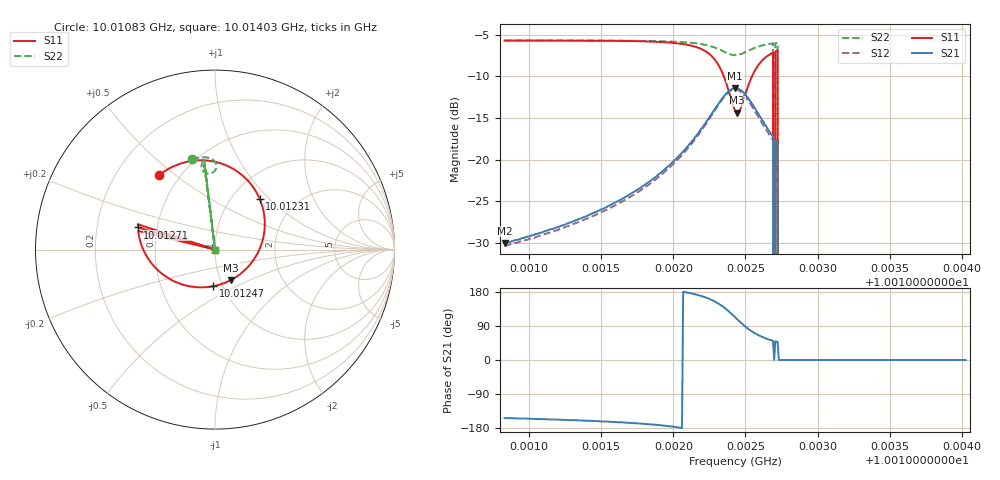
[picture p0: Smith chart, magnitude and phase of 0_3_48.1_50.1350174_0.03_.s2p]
#  HZ  S  RI  R  50.00
! Rohde & Schwarz Vector Network Analyzer
! Rohde-Schwarz,ZNB20-2Port,1311601062101988,3.16
! Created: UTC 12/23/2023, 3:34:34 AM
! freq[Hz]  re:S11  im:S11  re:S21  im:S21  re:S12  im:S12  re:S22  im:S22
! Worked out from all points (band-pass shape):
!   401 points, 10.01083 GHz to 10.01403 GHz, reference 50 ohm
!   highest |S21| = -11.43 dB at 10.01243 GHz (marker M1); lowest = -30.0 dB at 10.01083 GHz (marker M2)
!   |S21| within 3 dB of the highest: 10.01227 GHz to 10.01259 GHz (319.6 kHz wide, 0.00319 % of centre)
!   lowest |S11| = -14.4 dB at 10.01244 GHz (marker M3), VSWR 1.47, Z = 56.3 - j19.7 ohm
!   |S11| at or under -10 dB: 10.01235 GHz to 10.01254 GHz (194.8 kHz wide, 0.00195 % of centre); 10.01269 GHz to 10.01271 GHz (15.73 kHz wide, 0.000157 % of centre); 10.01272 GHz to end of sweep
!   |S22| runs from - to -5.7 dB; largest |S21 - S12| = 0.012
!   S11 on the Smith chart (normalised r, x): 10.01083 GHz: 0.39, +0.44; 10.01231 GHz: 1.33, +0.88; 10.01247 GHz: 0.91, -0.39; 10.01271 GHz: 0.39, +0.12; 10.01403 GHz: 1.00, +0.00
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1.001083e10  -0.3105 0.4165  -0.0282 -0.0142  -0.0261 -0.0153  -0.1282 0.5038
1.0011365e10  -0.2518 0.4539  -0.0419 -0.0153  -0.0394 -0.0168  -0.0902 0.5118
1.00119e10  -0.1235 0.4949  -0.081 -0.0118  -0.0773 -0.0157  -0.0437 0.5133
1.0012052e10  -0.0391 0.4958  -0.1082 -0.00171  -0.1046 -0.00809  -0.0253 0.5088
1.0012172e10  0.0718 0.465  -0.1425 0.0219  -0.1397 0.0132  -0.00783 0.4981
1.0012244e10  0.1638 0.4034  -0.168 0.0535  -0.1674 0.0439  0.00268 0.4843
1.0012308e10  0.2491 0.2824  -0.1851 0.1073  -0.1874 0.0955  0.00735 0.464
1.0012372e10  0.2704 0.0728  -0.1706 0.1851  -0.1759 0.1759  -0.00253 0.4374
1.0012427e10  0.1496 -0.129  -0.1044 0.2471  -0.1108 0.2397  -0.0297 0.4233
1.0012443e10  0.0902 -0.1688  -0.0789 0.2555  -0.0849 0.2483  -0.039 0.4234
1.0012467e10  -0.00851 -0.2038  -0.0399 0.2582  -0.0444 0.2515  -0.052 0.4274
1.0012507e10  -0.1672 -0.1987  0.0187 0.2407  0.0126 0.2337  -0.0676 0.4409
1.0012563e10  -0.3219 -0.1113  0.0674 0.1938  0.0596 0.1879  -0.075 0.4632
1.0012675e10  -0.4249 0.0823  0.0875 0.1142  0.0794 0.1117  -0.0655 0.4931
1.0012683e10  -0.4265 0.0924  0.0874 0.1103  0.0793 0.1077  -0.0644 0.4944
1.0012707e10  -0.4296 0.1235  0.0851 0.0993  0.0785 0.0967  -0.0612 0.4979
1.0012715e10  -0.43 0.1323  0.0847 0.0961  0.0778 0.094  -0.0601 0.4992
1.0012723e10  -0.4301 0.1412  0.0841 0.0929  0.077 0.091  -0.0591 0.5001
1.0012747e10  0 0  0 0  0 0  0 0
1.0012963e10  0 0  0 0  0 0  0 0
1.0013498e10  0 0  0 0  0 0  0 0
1.0014025e10  0 0  0 0  0 0  0 0
